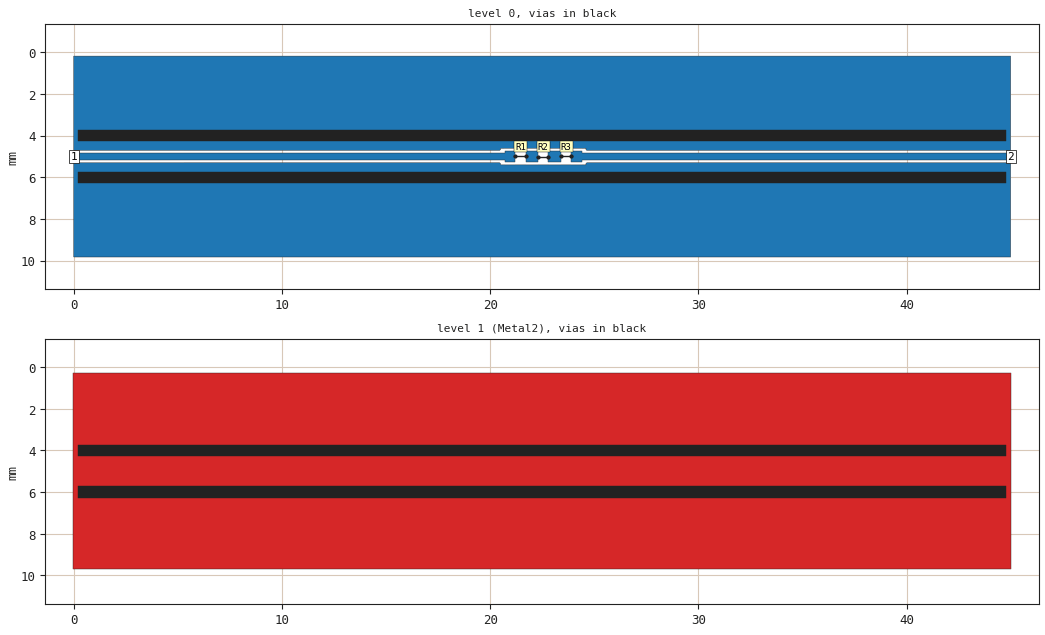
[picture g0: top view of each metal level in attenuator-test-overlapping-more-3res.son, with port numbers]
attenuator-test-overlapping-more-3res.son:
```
FTYP SONPROJ 17 ! Sonnet Project File
VER 17.52.2
HEADER
LIC antikernel2.2.49648 90e2ba8817c0 havequick azonenberg
DAT 08/30/2020 12:34:06
BUILT_BY_CREATED xgeom 16.56 07/03/2018 15:05:41
BUILT_BY_SAVED sonnet 17.52.2
MDATE 08/30/2020 12:32:15
HDATE 08/30/2020 12:32:15
END HEADER
DIM
ANG DEG
CAP PF
CON /OH
FREQ GHZ
IND NH
LNG MM
RES OH
END DIM
CONTROL
VARSWP
OPTIONS  -dj
SPEED 1
CACHE_ABS 1
Q_ACC N
END CONTROL
GEO
TMET "Free Space" 0 FREESPACE 376.7303136 0 0 0
BMET "Free Space" 0 FREESPACE 376.7303136 0 0 0
MET "Silver" 1 TMM 61700000 0.5 0.035 2
BRI "Alumina (96%)" 0 9.4 0.0004 0 
BRI "Alumina (99.5%)" 0 9.9 0.0001 0 
BRI "Aluminum Nitride" 0 8.6 0.0003 0 
BRI "Arlon 25FR" 0 3.58 0.0035 0 
BRI "Arlon 25N" 0 3.38 0.0025 0 
BRI "Arlon AD5" 0 5.1 0.003 0 
BRI "Arlon AD10" 0 10.2 0.005 0 
BRI "Arlon AD250" 0 2.5 0.0018 0 
BRI "Arlon AD255A" 0 2.55 0.0015 0 
BRI "Arlon AD260A" 0 2.6 0.0018 0 
BRI "Arlon AD270" 0 2.7 0.0023 0 
BRI "Arlon AD300A" 0 3 0.002 0 
BRI "Arlon AD320A" 0 3.2 0.0032 0 
BRI "Arlon AD350A" 0 3.5 0.003 0 
BRI "Arlon AD410" 0 4.1 0.003 0 
BRI "Arlon AD430" 0 4.3 0.003 0 
BRI "Arlon AD450" 0 4.5 0.0035 0 
BRI "Arlon AD600" 0 6.15 0.003 0 
BRI "Arlon AD1000" 0 10.2 0.0023 0 
BRI "Arlon AR1000" 0 9.8 0.003 0 
BRI "Arlon CLTE" 0 2.96 0.0023 0 
BRI "Arlon CLTE-AT" 0 3 0.0013 0 
BRI "Arlon CLTE-P" 0 2.94 0.0025 0 
BRI "Arlon CLTE-XT" 0 2.94 0.0012 0 
BRI "Arlon Cu 217LX" 0 2.17 0.0009 0 
BRI "Arlon Cu 233LX" 0 2.33 0.0013 0 
BRI "Arlon Cu 250GT" 0 2.5 0.001 0 
BRI "Arlon Cu 250GX" 0 2.5 0.0018 0 
BRI "Arlon Cu 6250" 0 2.32 0.0013 0 
BRI "Arlon Cu 6700" 0 2.35 0.0025 0 
BRI "Arlon Di 522" 0 2.5 0.001 0 
BRI "Arlon Di 527" 0 2.5 0.0018 0 
BRI "Arlon Di 870" 0 2.33 0.0013 0 
BRI "Arlon Di 880" 0 2.17 0.0009 0 
BRI "Arlon Iso 917" 0 2.17 0.0013 0 
BRI "Arlon Iso 933" 0 2.33 0.0016 0 
BRI "Arlon Multi HF" 0 3.7 0.004 0 
BRI "Arlon TC350" 0 3.5 0.002 0 
BRI "Arlon TC600" 0 6.15 0.002 0 
BRI "Beryllia (99.5%)" 0 6.5 0.0004 0 
BRI "CEM-1" 0 4.5 0.02 0 
BRI "CEM-3" 0 4.5 0.02 0 
BRI "Dupont 9K7" 0 7.1 0.0012 0 
BRI "Dupont 943" 0 7.4 0.002 0 
BRI "Dupont 951" 0 7.8 0.006 0 
BRI "Dupont FEP" 0 2 0.0005 0 
BRI "Dupont Vacrel" 0 3.8 0.011 0 
BRI "ESL 41010" 0 7.5 0.005 0 
BRI "ESL 41020" 0 7.25 0.005 0 
BRI "ESL 41050" 0 13.5 0.002 0 
BRI "ESL 41060" 0 16.5 0.002 0 
BRI "ESL 41110" 0 4.5 0.004 0 
BRI "Ferro A6M" 0 5.9 0.002 0 
BRI "Ferro A6S" 0 5.9 0.002 0 
BRI "Ferro L8" 0 7.3 0.0018 0 
BRI "FR-4" 0 4.4 0.02 0 
BRI "G-10" 0 4.8 0.025 0 
BRI "Gallium Arsenide" 0 12.9 0.006 0 
BRI "Gallium Nitride" 0 9.7 0 0 
BRI "Glass (Pyrex)" 0 4.82 0.0054 0 
BRI "Heraeus HL2000" 0 7.3 0.0026 0 
BRI "Isola 370HR" 0 4.04 0.021 0 
BRI "Isola FR408" 0 3.77 0.0116 0 
BRI "Isola FR408HR" 0 3.68 0.0092 0 
BRI "Isola Getek" 0 3.6 0.01 0 
BRI "Isola GI-180" 0 3.7 0.013 0 
BRI "Isola IS415" 0 3.82 0.0125 0 
BRI "Isola IS620i" 0 3.58 0.006 0 
BRI "Isola IS680-280" 0 2.8 0.0025 0 
BRI "Isola IS680-300" 0 3 0.003 0 
BRI "Isola IS680-320" 0 3.2 0.003 0 
BRI "Isola IS680-333" 0 3.33 0.003 0 
BRI "Isola IS680-338" 0 3.38 0.0032 0 
BRI "Isola IS680-345" 0 3.45 0.0036 0 
BRI "Kerafol CT800" 0 5.3 0.008 0 
BRI "Nelco MW9350" 0 3.7 0.004 0 
BRI "Nelco N4000-12" 0 3.7 0.008 0 
BRI "Nelco N4000-13" 0 3.7 0.009 0 
BRI "Nelco N4000-13SI" 0 3.2 0.007 0 
BRI "Nelco N4000-13EP" 0 3.7 0.008 0 
BRI "Nelco N4350-13RF" 0 3.5 0.0065 0 
BRI "Nelco N4380-13RF" 0 3.8 0.007 0 
BRI "Nelco N9300-13RF" 0 3 0.004 0 
BRI "Nelco N9320-13RF" 0 3.2 0.0045 0 
BRI "Nelco N9338-13RF" 0 3.38 0.0046 0 
BRI "Nelco N9350-13RF" 0 3.48 0.0055 0 
BRI "Nelco NH9294" 0 2.94 0.0022 0 
BRI "Nelco NH9300" 0 3 0.0023 0 
BRI "Nelco NH9320" 0 3.2 0.0024 0 
BRI "Nelco NH9338" 0 3.38 0.0025 0 
BRI "Nelco NH9348" 0 3.48 0.003 0 
BRI "Nelco NH9350" 0 3.5 0.003 0 
BRI "Nelco NH9410" 0 4.1 0.003 0 
BRI "Nelco NH9450" 0 4.5 0.003 0 
BRI "Nelco NX9240" 0 2.4 0.0016 0 
BRI "Nelco NX9245" 0 2.45 0.0016 0 
BRI "Nelco NX9250" 0 2.5 0.0017 0 
BRI "Nelco NX9255" 0 2.55 0.0018 0 
BRI "Nelco NX9260" 0 2.6 0.0019 0 
BRI "Nelco NY9208" 0 2.08 0.0006 0 
BRI "Nelco NY9217" 0 2.17 0.0008 0 
BRI "Nelco NY9220" 0 2.2 0.0009 0 
BRI "Nelco NY9233" 0 2.33 0.0011 0 
BRI "PET" 0 3.37 0.0208 0 
BRI "Polyimide" 0 3.5 0.003 0 
BRI "Quartz (Fused)" 0 3.78 0.0001 0 
BRI "Rogers 3001" 0 2.28 0.003 0 
BRI "Rogers RO2808" 0 7.6 0.0015 0 
BRI "Rogers RO3003" 0 3 0.0013 0 
BRI "Rogers RO3006" 0 6.5 0.002 0 
BRI "Rogers RO3010" 0 11.2 0.0022 0 
BRI "Rogers RO3035" 0 3.6 0.0018 0 
BRI "Rogers RO3203" 0 3.02 0.0016 0 
BRI "Rogers RO3206" 0 6.6 0.0027 0 
BRI "Rogers RO3210" 0 10.8 0.0027 0 
BRI "Rogers RO3730" 0 3 0.0016 0 
BRI "Rogers RO4003C" 0 3.55 0.0029 0 
BRI "Rogers RO4533" 0 3.45 0.0029 0 
BRI "Rogers RO4534" 0 3.4 0.003 0 
BRI "Rogers RO4350B" 0 3.66 0.0037 0 
BRI "Rogers RO4350BTX" 0 3.66 0.0034 0 
BRI "Rogers RO4360" 0 6.15 0.0038 0 
BRI "Rogers RO4450B-3.6" 0 3.3 0.0043 0 
BRI "Rogers RO4450B-4" 0 3.54 0.004 0 
BRI "Rogers RO4450F" 0 3.52 0.0041 0 
BRI "Rogers RO4730" 0 3 0.0033 0 
BRI "Rogers RT5870" 0 2.33 0.0012 0 
BRI "Rogers RT5880" 0 2.2 0.0009 0 
BRI "Rogers RT5880LZ" 0 1.96 0.0019 0 
BRI "Rogers RT6002" 0 2.94 0.0012 0 
BRI "Rogers RT6006" 0 6.15 0.0027 0 
BRI "Rogers RT6010LM" 0 10.9 0.0023 0 
BRI "Rogers RT6035HTC" 0 3.6 0.0013 0 
BRI "Rogers RT6202" 0 2.94 0.0015 0 
BRI "Rogers RT6202PR" 0 2.95 0.0015 0 
BRI "Rogers Syron7000" 0 3.4 0.0045 0 
BRI "Rogers Syron7100-2" 0 3.61 0.006 0 
BRI "Rogers Syron7100-4" 0 3.39 0.005 0 
BRI "Rogers Theta" 0 4.01 0.0118 0 
BRI "Rogers TMM 3" 0 3.39 0.002 0 
BRI "Rogers TMM 4" 0 4.5 0.002 0 
BRI "Rogers TMM 6" 0 6 0.0023 0 
BRI "Rogers TMM 10" 0 9.56 0.0022 0 
BRI "Rogers TMM 10i" 0 9.96 0.002 0 
BRI "Rogers UL2000" 0 2.5 0.0019 0 
BRI "Rogers UL3850" 0 3.05 0.0025 0 
BRI "Rogers UL3908" 0 2.9 0.0025 0 
BRI "Rogers XT8000" 0 3.34 0.0035 0 
BRI "Rogers XT8100-2" 0 3.54 0.0049 0 
BRI "Rogers XT8100-4" 0 3.32 0.0038 0 
BRI "Silicon (intrinsic)" 0 11.9 0.004 0.00044 
BRI "Silicon Dioxide" 0 3.9 0 0 
BRI "Silicon Nitride" 0 7.5 0 0 
BRI "Taconic CER-10" 0 10 0.0035 0 
BRI "Taconic FastFilm" 0 2.7 0.0012 0 
BRI "Taconic Fastrise-DS" 0 2.96 0.0018 0 
BRI "Taconic Fastrise27" 0 2.7 0.0014 0 
BRI "Taconic Fastrise77" 0 7.7 0.0034 0 
BRI "Taconic FEP" 0 2 0.0003 0 
BRI "Taconic RF-30" 0 3 0.0014 0 
BRI "Taconic RF-35" 0 3.5 0.0018 0 
BRI "Taconic RF-35A2" 0 3.5 0.0011 0 
BRI "Taconic RF-35P" 0 3.5 0.0025 0 
BRI "Taconic RF-41" 0 4.1 0.0038 0 
BRI "Taconic RF-43" 0 4.3 0.0033 0 
BRI "Taconic RF-45" 0 4.5 0.0037 0 
BRI "Taconic RF-60A" 0 6.15 0.0038 0 
BRI "Taconic RF-301" 0 2.97 0.0012 0 
BRI "Taconic TacBond HT" 0 2.35 0.0025 0 
BRI "Taconic TLA-6" 0 2.62 0.0012 0 
BRI "Taconic TLC-27" 0 2.75 0.003 0 
BRI "Taconic TLC-30" 0 3 0.003 0 
BRI "Taconic TLC-32" 0 3.2 0.003 0 
BRI "Taconic TLE-95" 0 2.95 0.0028 0 
BRI "Taconic TLF-34" 0 3.4 0.002 0 
BRI "Taconic TLF-35" 0 3.5 0.002 0 
BRI "Taconic TLP-3" 0 2.33 0.0009 0 
BRI "Taconic TLP-5" 0 2.2 0.0009 0 
BRI "Taconic TLP-5A" 0 2.17 0.0009 0 
BRI "Taconic TLT-0" 0 2.45 0.0006 0 
BRI "Taconic TLT-9" 0 2.5 0.0006 0 
BRI "Taconic TLT-8" 0 2.55 0.0006 0 
BRI "Taconic TLT-7" 0 2.6 0.0006 0 
BRI "Taconic TLT-6" 0 2.65 0.0006 0 
BRI "Taconic TLX-0" 0 2.45 0.0019 0 
BRI "Taconic TLX-9" 0 2.5 0.0019 0 
BRI "Taconic TLX-8" 0 2.55 0.0019 0 
BRI "Taconic TLX-7" 0 2.6 0.0019 0 
BRI "Taconic TLX-6" 0 2.65 0.0019 0 
BRI "Taconic TLY-3" 0 2.33 0.0009 0 
BRI "Taconic TLY-3F" 0 2.33 0.0009 0 
BRI "Taconic TLY-5" 0 2.2 0.0009 0 
BRI "Taconic TLY-5-L" 0 2.2 0.0009 0 
BRI "Taconic TLY-5A" 0 2.17 0.0009 0 
BRI "Taconic TLY-5A-L" 0 2.17 0.0009 0 
BRI "Taconic TPG-30" 0 3 0.0038 0 
BRI "Taconic TPG-32" 0 3.2 0.005 0 
BRI "Taconic TPG-35" 0 3.5 0.005 0 
BRI "Taconic TRF-41" 0 4.1 0.0035 0 
BRI "Taconic TRF-43" 0 4.3 0.0035 0 
BRI "Taconic TRF-45" 0 4.5 0.0035 0 
BRI "Taconic TSM-DS" 0 2.85 0.001 0 
BRI "Taconic TSM-DS3" 0 3 0.0011 0 
BRI "Taconic TSM-26" 0 2.6 0.0014 0 
BRI "Taconic TSM-29" 0 2.94 0.0013 0 
BRI "Taconic TSM-30" 0 3 0.0013 0 
BRI "Teflon (PTFE)" 0 2.08 0.0004 0 
BOX 2 45 10 3600 800 20 0
      1 1 1 0 0 0 0 "Air"
      0.16 3.68 1 0.0092 0 0 0 "Isola FR408HR"
      1 1 1 0 0 0 0 "Substrate"
TECHLAY METAL Metal1 <UNSPECIFIED> -2 0 
0 0 0 N 0 1 1 100 100 0 0 0 Y
END
END
TECHLAY VIA Via1 <UNSPECIFIED> -4 0 
VIA POLYGON
1 0 -1 N 0 1 1 100 100 0 0 0 Y
TOLEVEL 0 RING NOCOVERS
END
END
TECHLAY METAL Metal2 <UNSPECIFIED> -3 0 
1 0 -1 N 0 1 1 100 100 0 0 0 Y
END
END
LORGN 0 10 U 
POR1 BOX
POLY 1779 1
3
1 50 0 0 0 0 5 
POR1 BOX
POLY 1784 1
1
2 50 0 0 0 45 5 
SMD 0 "R1"
ID 1507
GNDREF AUTO
SBOX 21.325 21.575 4.85 5.1
PBSHW N
LPOS 21.45 4.85
TYPE SPARAM 1
SMDP 0 21.2 4.975 L 3 1 
EXSMDP
GNDREF AUTO
TERMW FEED
END EXSMDP
SMDP 0 21.7 4.975 R 4 2 
EXSMDP
GNDREF AUTO
TERMW FEED
END EXSMDP
END
SMD 0 "R2"
ID 1510
GNDREF AUTO
SBOX 22.425 22.675 4.875 5.125
PBSHW N
LPOS 22.55 4.875
TYPE SPARAM 1
SMDP 0 22.3 5 L 5 1 
EXSMDP
GNDREF AUTO
TERMW FEED
END EXSMDP
SMDP 0 22.8 5 R 6 2 
EXSMDP
GNDREF AUTO
TERMW FEED
END EXSMDP
END
SMD 0 "R3"
ID 1513
GNDREF AUTO
SBOX 23.525 23.775 4.85 5.1
PBSHW N
LPOS 23.65 4.85
TYPE SPARAM 2
SMDP 0 23.4 4.975 L 7 1 
EXSMDP
GNDREF AUTO
TERMW FEED
END EXSMDP
SMDP 0 23.9 4.975 R 8 2 
EXSMDP
GNDREF AUTO
TERMW FEED
END EXSMDP
END
NUM 9
0 5 0 N 1770 1 1 100 100 0 0 0 Y
USER_DAT FromImport
22.3 4.75
21.7 4.75
21.7 5.25
22.3 5.25
22.3 4.75
END
0 5 0 N 1775 1 1 100 100 0 0 0 Y
USER_DAT FromImport
23.4 4.75
22.8 4.75
22.8 5.25
23.4 5.25
23.4 4.75
END
0 9 0 N 1779 1 1 100 100 0 0 0 Y
USER_DAT FromImport
21.2 4.75
20.7 4.75
20.7 4.85
0 4.85
0 5.15
20.7 5.15
20.7 5.25
21.2 5.25
21.2 4.75
END
0 86 0 N 1783 1 1 100 100 0 0 0 Y
USER_DAT FromImport
45 5.301
39.703 5.301
39.693 5.3
24.659 5.3
24.653 5.3006
24.647 5.3018
24.641 5.3036
24.636 5.3059
24.63 5.3088
24.625 5.3122
24.62 5.3161
24.616 5.3205
24.612 5.3252
24.609 5.3303
24.606 5.3357
24.604 5.3414
24.602 5.3473
24.601 5.3533
24.6 5.3594
24.6 5.3656
24.6 5.39814
24.59954386 5.399745614
24.597 5.4
24.407 5.4
24.401 5.4006
24.401 5.4006
24.401 5.4006
24.397 5.401
23.903 5.401
23.899 5.4006
23.899 5.4006
23.893 5.4
23.407 5.4
23.401 5.4006
23.401 5.4006
23.401 5.4006
23.397 5.401
22.803 5.401
22.799 5.4006
22.799 5.4006
22.793 5.4
22.307 5.4
22.301 5.4006
22.301 5.4006
22.301 5.4006
22.297 5.401
21.703 5.401
21.699 5.4006
21.699 5.4006
21.693 5.4
21.207 5.4
21.201 5.4006
21.201 5.4006
21.201 5.4006
21.197 5.401
20.703 5.401
20.699 5.4006
20.699 5.4006
20.693 5.4
20.503 5.4
20.50045614 5.399745614
20.5 5.39814
20.5 5.3594
20.499 5.3533
20.498 5.3473
20.496 5.3414
20.494 5.3357
20.491 5.3303
20.488 5.3252
20.484 5.3205
20.48 5.3161
20.475 5.3122
20.47 5.3088
20.464 5.3059
20.459 5.3036
20.453 5.3018
20.447 5.3006
20.441 5.3
5.307 5.3
5.301 5.3006
5.301 5.3006
5.297 5.301
0 5.301
0 9.825
45 9.825
45 5.301
END
0 9 0 N 1784 1 1 100 100 0 0 0 Y
USER_DAT FromImport
24.4 5.15
45 5.15
45 4.85
24.4 4.85
24.4 4.75
23.9 4.75
23.9 5.25
24.4 5.25
24.4 5.15
END
0 86 0 N 1785 1 1 100 100 0 0 0 Y
USER_DAT FromImport
39.703 4.699
45 4.699
45 0.175
0 0.175
0 4.699
5.297 4.699
5.301 4.6994
5.301 4.6994
5.307 4.7
20.441 4.7
20.447 4.6994
20.453 4.6982
20.459 4.6964
20.464 4.6941
20.47 4.6912
20.475 4.6878
20.48 4.6839
20.484 4.6795
20.488 4.6748
20.491 4.6697
20.494 4.6643
20.496 4.6586
20.498 4.6527
20.499 4.6467
20.5 4.6406
20.5 4.60186
20.50045614 4.600254386
20.503 4.6
20.693 4.6
20.699 4.5994
20.699 4.5994
20.703 4.599
21.197 4.599
21.201 4.5994
21.201 4.5994
21.201 4.5994
21.207 4.6
21.693 4.6
21.699 4.5994
21.699 4.5994
21.703 4.599
22.297 4.599
22.301 4.5994
22.301 4.5994
22.301 4.5994
22.307 4.6
22.793 4.6
22.799 4.5994
22.799 4.5994
22.803 4.599
23.397 4.599
23.401 4.5994
23.401 4.5994
23.401 4.5994
23.407 4.6
23.893 4.6
23.899 4.5994
23.899 4.5994
23.903 4.599
24.397 4.599
24.401 4.5994
24.401 4.5994
24.401 4.5994
24.407 4.6
24.597 4.6
24.59954386 4.600254386
24.6 4.60186
24.6 4.6344
24.6 4.6406
24.601 4.6467
24.602 4.6527
24.604 4.6586
24.606 4.6643
24.609 4.6697
24.612 4.6748
24.616 4.6795
24.62 4.6839
24.625 4.6878
24.63 4.6912
24.636 4.6941
24.641 4.6964
24.647 4.6982
24.653 4.6994
24.659 4.7
39.693 4.7
39.703 4.699
END
VIA POLYGON
1 5 -1 N 1761 1 1 100 100 0 0 0 Y
TOLEVEL 0 RING NOCOVERS
TLAYNAM Via1 INH
0.2 5.725
44.772 5.725
44.772 6.2747
0.2 6.2747
0.2 5.725
END
VIA POLYGON
1 5 -1 N 1762 1 1 100 100 0 0 0 Y
TOLEVEL 0 RING NOCOVERS
TLAYNAM Via1 INH
0.225 3.725
44.797 3.725
44.797 4.2747
0.225 4.2747
0.225 3.725
END
1 5 -1 N 1764 1 1 100 100 0 0 0 Y
TLAYNAM Metal2 INH
USER_DAT FromImport
-0.013 9.7125
-0.013 0.2875
45 0.2875
45 9.7125
-0.013 9.7125
END
END GEO
OPT
MAX 100
END OPT
VARSWP
ENABLED Y
FREQ Y AY ABS_ENTRY 0.1 6.0 -1 300 
END
END VARSWP
FILEOUT
FOLDER .
END FILEOUT
SMDFILES
2 "../../../../../../share/datasheets/Vishay/0402/FC0402-FlipChip-50 Ohm.s2p"
1 "../../../../../../share/datasheets/Vishay/0402/FC0402-FlipChip-200 Ohm.s2p"
END SMDFILES
```
